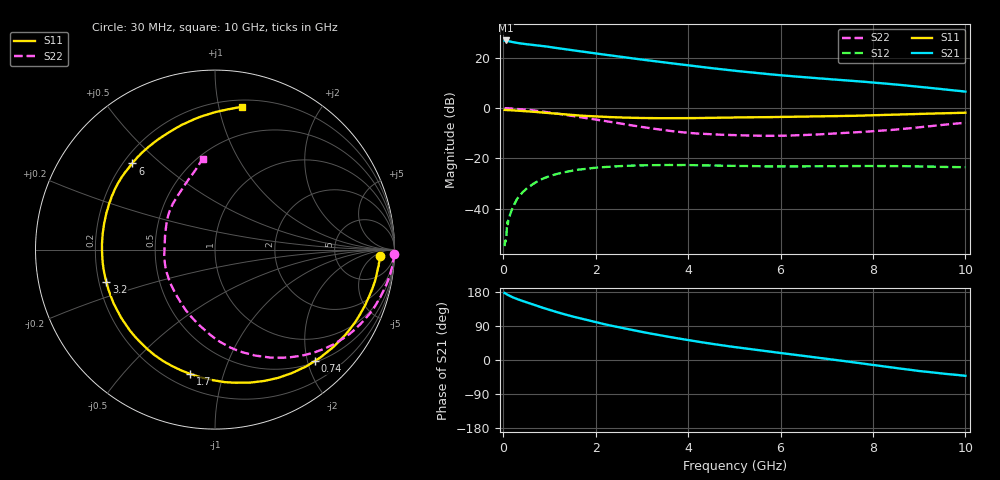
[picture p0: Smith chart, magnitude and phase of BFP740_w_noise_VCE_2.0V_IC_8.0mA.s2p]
! Infineon Technologies  Discrete & RF Semiconductors
! BFP740
! VCE =  2.0 V,  IC =  8.0 mA
! Common Emitter S-Parameters:  Jan 2016
# GHz  S  MA  R  50
!  f  S11  S21  S12  S22
! GHz  MAG  ANG  MAG  ANG  MAG  ANG  MAG  ANG
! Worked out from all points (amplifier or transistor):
!   229 points, 30 MHz to 10 GHz, reference 50 ohm
!   highest |S21| = 26.9 dB at 50 MHz (marker M1)
!   |S21| within 3 dB of that: start of sweep to 1.153 GHz
!   unconditionally stable (mu >= 1): 7.306 GHz to end of sweep
!   at 280 MHz: K = 0.12, MSG = 31.4 dB, |S12| = -36.8 dB
!   at 1.78 GHz: K = 0.29, MSG = 23.2 dB, |S12| = -24.1 dB
!   at 10 GHz: K = 1.12, MAG = 13.0 dB, |S12| = -23.5 dB
!   lowest NFmin = 0.48 dB at 450 MHz
!   S11 on the Smith chart (normalised r, x): 30 MHz: 20, -9; 740 MHz: 0.52, -2.13; 1.7 GHz: 0.28, -0.78; 3.2 GHz: 0.23, -0.14; 6 GHz: 0.24, +0.41; 10 GHz: 0.25, +1.17
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0.03  0.9198 -2.1  21.97 176.9  0.0018 85.9  0.9967 -1.4
0.05  0.9188 -3.5  22.13 175.5  0.0022 85.9  0.9956 -2.5
0.09  0.9141 -6.4  21.64 172.3  0.0055 79.2  0.9936 -4.5
0.13  0.9108 -9.3  21.31 169.6  0.0067 87.9  0.9891 -6.5
0.26  0.8956 -17.9  20.13 162.7  0.0133 78.9  0.9709 -12.3
0.48  0.8697 -32.0  18.77 153.2  0.0239 70.7  0.9355 -21.9
0.74  0.8332 -48.2  17.59 142.6  0.0349 61.5  0.8813 -32.5
0.9  0.8105 -58.1  16.96 136.1  0.0411 56.3  0.8438 -38.9
1.18  0.7692 -73.9  15.54 125.7  0.0496 47.6  0.7739 -49.2
1.4  0.7404 -85.8  14.59 118.1  0.0548 41.9  0.7216 -56.5
1.7  0.7064 -101.2  13.38 108.6  0.0609 34.6  0.6528 -65.9
2.1  0.6774 -119.9  11.87 96.9  0.0665 26.4  0.5724 -78.0
2.32  0.6624 -129.4  11.14 90.9  0.0686 22.4  0.5313 -84.2
2.8  0.6411 -148.5  9.743 78.9  0.0717 14.7  0.4505 -97.6
3.2  0.6317 -163.2  8.752 69.5  0.0734 9.2  0.3963 -109.6
3.4  0.6303 -170.0  8.295 65.1  0.0738 6.6  0.3746 -115.8
4.2  0.6349 166.3  6.74 48.6  0.073 -2.0  0.3127 -141.8
5.1  0.6528 147.1  5.421 32.6  0.0707 -8.6  0.2883 -166.6
6  0.6654 133.8  4.501 18.5  0.0693 -12.7  0.2823 172.8
6.8  0.6818 122.8  3.926 6.2  0.0698 -16.0  0.2992 155.9
8.4  0.738 98.3  2.999 -19.6  0.0704 -24.0  0.368 123.6
10  0.8095 79.4  2.129 -41.7  0.0668 -29.9  0.5121 97.7
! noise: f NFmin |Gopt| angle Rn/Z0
0.45  0.48  0.29  9  0.17
0.9  0.49  0.29  15  0.17
1.5  0.51  0.28  23  0.16
1.9  0.54  0.27  41  0.16
2.4  0.56  0.27  46  0.15
3.5  0.67  0.24  62  0.14
5.5  0.86  0.19  -178  0.13
10  1.39  0.52  -77  0.17
